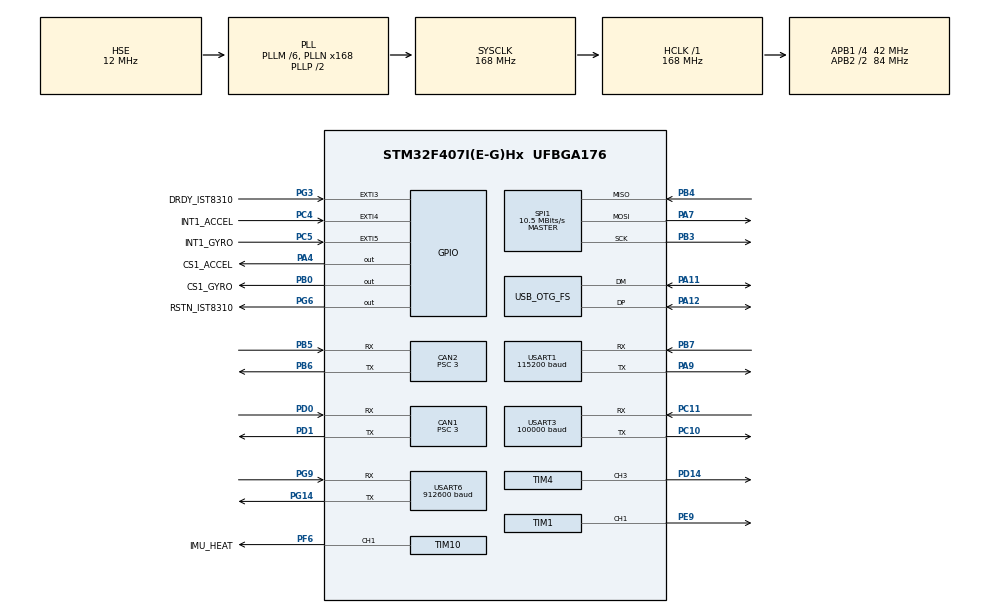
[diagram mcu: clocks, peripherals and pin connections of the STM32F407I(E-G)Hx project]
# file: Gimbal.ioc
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CAN1.ABOM=ENABLE
CAN1.BS1=CAN_BS1_10TQ
CAN1.BS2=CAN_BS2_3TQ
CAN1.CalculateBaudRate=1000000
CAN1.CalculateTimeBit=1000
CAN1.CalculateTimeQuantum=71.42857142857143
CAN1.NART=ENABLE
CAN1.Prescaler=3
CAN2.ABOM=ENABLE
CAN2.BS1=CAN_BS1_10TQ
CAN2.BS2=CAN_BS2_3TQ
CAN2.CalculateBaudRate=1000000
CAN2.CalculateTimeBit=1000
CAN2.CalculateTimeQuantum=71.42857142857143
CAN2.NART=ENABLE
CAN2.Prescaler=3
Dma.Request0=USART3_RX
Dma.Request1=USART6_RX
Dma.Request2=SPI1_RX
Dma.Request3=SPI1_TX
Dma.Request4=USART6_TX
Dma.Request5=USART1_TX
Dma.SPI1_RX.2.Direction=DMA_PERIPH_TO_MEMORY
Dma.SPI1_RX.2.FIFOMode=DMA_FIFOMODE_DISABLE
Dma.SPI1_RX.2.Instance=DMA2_Stream2
Dma.SPI1_RX.2.MemDataAlignment=DMA_MDATAALIGN_BYTE
Dma.SPI1_RX.2.MemInc=DMA_MINC_ENABLE
Dma.SPI1_RX.2.Mode=DMA_NORMAL
Dma.SPI1_RX.2.PeriphDataAlignment=DMA_PDATAALIGN_BYTE
Dma.SPI1_RX.2.PeriphInc=DMA_PINC_DISABLE
Dma.SPI1_RX.2.Priority=DMA_PRIORITY_VERY_HIGH
Dma.SPI1_TX.3.Direction=DMA_MEMORY_TO_PERIPH
Dma.SPI1_TX.3.FIFOMode=DMA_FIFOMODE_DISABLE
Dma.SPI1_TX.3.Instance=DMA2_Stream3
Dma.SPI1_TX.3.MemDataAlignment=DMA_MDATAALIGN_BYTE
Dma.SPI1_TX.3.MemInc=DMA_MINC_ENABLE
Dma.SPI1_TX.3.Mode=DMA_NORMAL
Dma.SPI1_TX.3.PeriphDataAlignment=DMA_PDATAALIGN_BYTE
Dma.SPI1_TX.3.PeriphInc=DMA_PINC_DISABLE
Dma.SPI1_TX.3.Priority=DMA_PRIORITY_HIGH
Dma.USART1_TX.5.Direction=DMA_MEMORY_TO_PERIPH
Dma.USART1_TX.5.FIFOMode=DMA_FIFOMODE_DISABLE
Dma.USART1_TX.5.Instance=DMA2_Stream7
Dma.USART1_TX.5.MemDataAlignment=DMA_MDATAALIGN_BYTE
Dma.USART1_TX.5.MemInc=DMA_MINC_ENABLE
Dma.USART1_TX.5.Mode=DMA_NORMAL
Dma.USART1_TX.5.PeriphDataAlignment=DMA_PDATAALIGN_BYTE
Dma.USART1_TX.5.PeriphInc=DMA_PINC_DISABLE
Dma.USART1_TX.5.Priority=DMA_PRIORITY_MEDIUM
Dma.USART3_RX.0.Direction=DMA_PERIPH_TO_MEMORY
Dma.USART3_RX.0.FIFOMode=DMA_FIFOMODE_DISABLE
Dma.USART3_RX.0.Instance=DMA1_Stream1
Dma.USART3_RX.0.MemDataAlignment=DMA_MDATAALIGN_BYTE
Dma.USART3_RX.0.MemInc=DMA_MINC_ENABLE
Dma.USART3_RX.0.Mode=DMA_NORMAL
Dma.USART3_RX.0.PeriphDataAlignment=DMA_PDATAALIGN_BYTE
Dma.USART3_RX.0.PeriphInc=DMA_PINC_DISABLE
Dma.USART3_RX.0.Priority=DMA_PRIORITY_HIGH
Dma.USART6_RX.1.Direction=DMA_PERIPH_TO_MEMORY
Dma.USART6_RX.1.FIFOMode=DMA_FIFOMODE_DISABLE
Dma.USART6_RX.1.Instance=DMA2_Stream1
Dma.USART6_RX.1.MemDataAlignment=DMA_MDATAALIGN_BYTE
Dma.USART6_RX.1.MemInc=DMA_MINC_ENABLE
Dma.USART6_RX.1.Mode=DMA_NORMAL
Dma.USART6_RX.1.PeriphDataAlignment=DMA_PDATAALIGN_BYTE
Dma.USART6_RX.1.PeriphInc=DMA_PINC_DISABLE
Dma.USART6_RX.1.Priority=DMA_PRIORITY_HIGH
Dma.USART6_TX.4.Direction=DMA_MEMORY_TO_PERIPH
Dma.USART6_TX.4.FIFOMode=DMA_FIFOMODE_DISABLE
Dma.USART6_TX.4.Instance=DMA2_Stream6
Dma.USART6_TX.4.MemDataAlignment=DMA_MDATAALIGN_BYTE
Dma.USART6_TX.4.MemInc=DMA_MINC_ENABLE
Dma.USART6_TX.4.Mode=DMA_NORMAL
Dma.USART6_TX.4.PeriphDataAlignment=DMA_PDATAALIGN_BYTE
Dma.USART6_TX.4.PeriphInc=DMA_PINC_DISABLE
Dma.USART6_TX.4.Priority=DMA_PRIORITY_MEDIUM
Mcu.Family=STM32F4
Mcu.Name=STM32F407I(E-G)Hx
Mcu.Package=UFBGA176
NVIC.CAN1_RX0_IRQn=true\:0\:0\:true\:false\:true\:true\:true\:true
NVIC.CAN1_RX1_IRQn=true\:0\:0\:false\:false\:true\:true\:true\:true
NVIC.CAN1_TX_IRQn=true\:0\:0\:false\:false\:true\:true\:true\:true
NVIC.CAN2_RX0_IRQn=true\:0\:0\:false\:false\:true\:true\:true\:true
NVIC.CAN2_RX1_IRQn=true\:0\:0\:false\:false\:true\:true\:true\:true
NVIC.CAN2_TX_IRQn=true\:0\:0\:false\:false\:true\:true\:true\:true
NVIC.DMA1_Stream1_IRQn=true\:0\:0\:false\:false\:true\:false\:true\:true
NVIC.DMA2_Stream1_IRQn=true\:0\:0\:false\:false\:true\:false\:true\:true
NVIC.DMA2_Stream2_IRQn=true\:0\:0\:false\:false\:true\:false\:true\:true
NVIC.DMA2_Stream3_IRQn=true\:0\:0\:false\:false\:true\:false\:true\:true
NVIC.DMA2_Stream6_IRQn=true\:0\:0\:false\:false\:true\:false\:true\:true
NVIC.DMA2_Stream7_IRQn=true\:0\:0\:false\:false\:true\:false\:true\:true
NVIC.EXTI3_IRQn=true\:0\:0\:false\:false\:true\:true\:true\:true
NVIC.EXTI4_IRQn=true\:0\:0\:false\:false\:true\:true\:true\:true
NVIC.EXTI9_5_IRQn=true\:0\:0\:false\:false\:true\:true\:true\:true
NVIC.OTG_FS_IRQn=true\:0\:0\:false\:false\:true\:true\:true\:true
NVIC.PriorityGroup=NVIC_PRIORITYGROUP_4
NVIC.TIM1_BRK_TIM9_IRQn=true\:0\:0\:false\:false\:true\:true\:true\:true
NVIC.TIM1_TRG_COM_TIM11_IRQn=true\:0\:0\:false\:false\:true\:true\:true\:true
NVIC.TIM6_DAC_IRQn=true\:0\:0\:false\:false\:true\:true\:true\:true
NVIC.TIM8_BRK_TIM12_IRQn=true\:1\:0\:true\:false\:true\:true\:true\:true
NVIC.TIM8_TRG_COM_TIM14_IRQn=true\:0\:0\:true\:false\:true\:true\:true\:true
NVIC.TIM8_UP_TIM13_IRQn=true\:0\:0\:true\:false\:true\:true\:true\:true
NVIC.USART1_IRQn=true\:0\:0\:true\:false\:true\:true\:true\:true
NVIC.USART3_IRQn=true\:0\:0\:false\:false\:true\:true\:true\:true
NVIC.USART6_IRQn=true\:0\:0\:false\:false\:true\:true\:true\:true
PA11.Mode=Device_Only
PA11.Signal=USB_OTG_FS_DM
PA12.Mode=Device_Only
PA12.Signal=USB_OTG_FS_DP
PA13.Mode=Serial_Wire
PA13.Signal=SYS_JTMS-SWDIO
PA14.Mode=Serial_Wire
PA14.Signal=SYS_JTCK-SWCLK
PA4.GPIO_Label=CS1_ACCEL
PA4.GPIO_PuPd=GPIO_PULLUP
PA4.GPIO_Speed=GPIO_SPEED_FREQ_HIGH
PA4.Signal=GPIO_Output
PA7.Mode=Full_Duplex_Master
PA7.Signal=SPI1_MOSI
PA9.Mode=Asynchronous
PA9.Signal=USART1_TX
PB0.GPIO_Label=CS1_GYRO
PB0.GPIO_PuPd=GPIO_PULLUP
PB0.GPIO_Speed=GPIO_SPEED_FREQ_HIGH
PB0.PinState=GPIO_PIN_SET
PB0.Signal=GPIO_Output
PB3.Mode=Full_Duplex_Master
PB3.Signal=SPI1_SCK
PB4.Mode=Full_Duplex_Master
PB4.Signal=SPI1_MISO
PB5.Mode=CAN_Activate
PB5.Signal=CAN2_RX
PB6.Mode=CAN_Activate
PB6.Signal=CAN2_TX
PB7.Mode=Asynchronous
PB7.Signal=USART1_RX
PC10.Mode=Asynchronous
PC10.Signal=USART3_TX
PC11.Mode=Asynchronous
PC11.Signal=USART3_RX
PC4.GPIO_Label=INT1_ACCEL
PC4.GPIO_ModeDefaultEXTI=GPIO_MODE_IT_FALLING
PC4.GPIO_PuPd=GPIO_PULLUP
PC4.Signal=GPXTI4
PC5.GPIO_Label=INT1_GYRO
PC5.GPIO_ModeDefaultEXTI=GPIO_MODE_IT_FALLING
PC5.GPIO_PuPd=GPIO_PULLUP
PC5.Signal=GPXTI5
PD0.Mode=CAN_Activate
PD0.Signal=CAN1_RX
PD1.Mode=CAN_Activate
PD1.Signal=CAN1_TX
PD14.Signal=S_TIM4_CH3
PE9.Signal=S_TIM1_CH1
PF6.GPIO_Label=IMU_HEAT
PF6.GPIO_PuPd=GPIO_PULLUP
PF6.GPIO_Speed=GPIO_SPEED_FREQ_HIGH
PF6.Signal=S_TIM10_CH1
PG14.Mode=Asynchronous
PG14.Signal=USART6_TX
PG3.GPIO_Label=DRDY_IST8310
PG3.GPIO_ModeDefaultEXTI=GPIO_MODE_IT_FALLING
PG3.GPIO_PuPd=GPIO_PULLUP
PG3.Signal=GPXTI3
PG6.GPIO_Label=RSTN_IST8310
PG6.GPIO_PuPd=GPIO_PULLUP
PG6.GPIO_Speed=GPIO_SPEED_FREQ_MEDIUM
PG6.PinState=GPIO_PIN_SET
PG6.Signal=GPIO_Output
PG9.Mode=Asynchronous
PG9.Signal=USART6_RX
PH0-OSC_IN.Mode=HSE-External-Oscillator
PH0-OSC_IN.Signal=RCC_OSC_IN
PH1-OSC_OUT.Mode=HSE-External-Oscillator
PH1-OSC_OUT.Signal=RCC_OSC_OUT
ProjectManager.HeapSize=0x1000
ProjectManager.StackSize=0x400
ProjectManager.TargetToolchain=MDK-ARM V5.32
RCC.48MHZClocksFreq_Value=48000000
RCC.AHBFreq_Value=168000000
RCC.APB1CLKDivider=RCC_HCLK_DIV4
RCC.APB1Freq_Value=42000000
RCC.APB1TimFreq_Value=84000000
RCC.APB2CLKDivider=RCC_HCLK_DIV2
RCC.APB2Freq_Value=84000000
RCC.APB2TimFreq_Value=168000000
RCC.CortexFreq_Value=168000000
RCC.HCLKFreq_Value=168000000
RCC.HSE_VALUE=12000000
RCC.HSI_VALUE=16000000
RCC.LSE_VALUE=32.77
RCC.PLLM=6
RCC.PLLN=168
RCC.PLLQ=7
RCC.SYSCLKFreq_VALUE=168000000
RCC.SYSCLKSource=RCC_SYSCLKSOURCE_PLLCLK
RCC.VCOOutputFreq_Value=336000000
SH.S_TIM10_CH1.0=TIM10_CH1,PWM Generation1 CH1
SH.S_TIM1_CH1.0=TIM1_CH1,PWM Generation1 CH1
SH.S_TIM4_CH3.0=TIM4_CH3,PWM Generation3 CH3
SPI1.BaudRatePrescaler=SPI_BAUDRATEPRESCALER_8
SPI1.CLKPhase=SPI_PHASE_2EDGE
SPI1.CLKPolarity=SPI_POLARITY_HIGH
SPI1.CalculateBaudRate=10.5 MBits/s
SPI1.Direction=SPI_DIRECTION_2LINES
SPI1.Mode=SPI_MODE_MASTER
SPI1.VirtualType=VM_MASTER
TIM1.Channel-PWM\ Generation1\ CH1=TIM_CHANNEL_1
TIM1.Period=20000-1
TIM1.Prescaler=168-1
TIM1.Pulse-PWM\ Generation1\ CH1=1000
TIM10.Channel=TIM_CHANNEL_1
TIM11.Period=670-1
TIM11.Prescaler=168-1
TIM12.Period=2000-1
TIM12.Prescaler=84-1
TIM13.AutoReloadPreload=TIM_AUTORELOAD_PRELOAD_ENABLE
TIM13.Period=2000-1
TIM13.Prescaler=84-1
TIM14.AutoReloadPreload=TIM_AUTORELOAD_PRELOAD_ENABLE
TIM14.Period=2000-1
TIM14.Prescaler=84-1
TIM4.Channel-PWM\ Generation3\ CH3=TIM_CHANNEL_3
TIM4.Period=20-1
TIM4.Prescaler=800
TIM4.Pulse-PWM\ Generation3\ CH3=10
TIM6.Period=1000
TIM6.Prescaler=84-1
TIM8.Period=5000-1
TIM8.Prescaler=84-1
TIM9.Period=10000-1
TIM9.Prescaler=168-1
USART1.BaudRate=115200
USART1.VirtualMode=VM_ASYNC
USART3.BaudRate=100000
USART3.Mode=MODE_TX_RX
USART3.Parity=PARITY_EVEN
USART3.VirtualMode=VM_ASYNC
USART3.WordLength=WORDLENGTH_9B
USART6.BaudRate=912600
USART6.VirtualMode=VM_ASYNC
USB_DEVICE.CLASS_NAME_FS=CDC
USB_DEVICE.VirtualMode-CDC_FS=Cdc
USB_DEVICE.VirtualModeFS=Cdc_FS
USB_OTG_FS.VirtualMode=Device_Only
VP_TIM10_VS_ClockSourceINT.Mode=Enable_Timer
VP_TIM11_VS_ClockSourceINT.Mode=Enable_Timer
VP_TIM12_VS_ClockSourceINT.Mode=Internal
VP_TIM13_VS_ClockSourceINT.Mode=Enable_Timer
VP_TIM14_VS_ClockSourceINT.Mode=Enable_Timer
VP_TIM1_VS_ClockSourceINT.Mode=Internal
VP_TIM4_VS_ClockSourceINT.Mode=Internal
VP_TIM6_VS_ClockSourceINT.Mode=Enable_Timer
VP_TIM8_VS_ClockSourceINT.Mode=Internal
VP_TIM9_VS_ClockSourceINT.Mode=Internal
VP_USB_DEVICE_VS_USB_DEVICE_CDC_FS.Mode=CDC_FS
board=custom

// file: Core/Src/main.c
/* USER CODE BEGIN Header */
/**
 ******************************************************************************
 * @file           : main.c
 * @brief          : Main program body
 ******************************************************************************
 * @attention
 *
 * Copyright (c) 2023 STMicroelectronics.
 * All rights reserved.
 *
 * This software is licensed under terms that can be found in the LICENSE file
 * in the root directory of this software component.
 * If no LICENSE file comes with this software, it is provided AS-IS.
 *
 ******************************************************************************
 */
/* USER CODE END Header */
#include "main.h"
#include "can.h"
#include "dma.h"
#include "spi.h"
#include "tim.h"
#include "usart.h"
#include "usb_device.h"
#include "gpio.h"

/* USER CODE BEGIN Includes */
// #include "IMU.h"
#include "BMI088.h"
#include "DJI_Motor.h"
#include "MCUConnect.h"
#include "MCUConnectStructs.h"
#include "RC_task.h"
#include "RobotModManage.h"
#include "VisionConnect.h"
#include "addOns.h"
#include "bsp_wbus.h"
#include "gimbal.h"
#include "math.h"
#include "pid.h"
#include "pidData.h"
#include "referee.h"
#include "remote_control.h"
#include "shooter.h"
#include "stm32f4xx_it.h"
/* USER CODE END Includes */

/* USER CODE BEGIN PTD */
DJI_MotorGroup group1;
DJI_Motor motorYaw;

DJI_Motor motorPitch;

DJI_MotorGroup group2;
DJI_Motor motorfriR;
DJI_Motor motorfriL;
DJI_Motor motor2006;

shooter shooter1;
VisionConnect vision1;
ChassisControl ChassisControlData;
GimbalControl GimbalControlData;
// RC_ctrl_t rc_ctrl;

MCUConnection connect;
gimbal gimbal1;

BMI088_IMU BMI088_gimbal;
Referee_data RefereeData;
uint8_t tuneTime = 0;

/* USER CODE END PTD */

void SystemClock_Config(void);

int main(void)
{

  /* USER CODE BEGIN 1 */
extern DMA_HandleTypeDef hdma2;
  /* USER CODE END 1 */

  /* MCU Configuration--------------------------------------------------------*/

  /* Reset of all peripherals, Initializes the Flash interface and the Systick. */
  HAL_Init();

  /* Configure the system clock */
  SystemClock_Config();

  /* Initialize all configured peripherals */
  MX_GPIO_Init();
  MX_DMA_Init();
  MX_CAN1_Init();
  MX_CAN2_Init();
  MX_TIM13_Init();
  MX_TIM14_Init();
  MX_USART3_UART_Init();
  MX_USART1_UART_Init();
  MX_USART6_UART_Init();
  MX_TIM12_Init();
  MX_USB_DEVICE_Init();
  MX_TIM11_Init();
  MX_SPI1_Init();
  MX_TIM10_Init();
  MX_TIM4_Init();
  MX_TIM9_Init();
  MX_TIM1_Init();
  MX_TIM6_Init();
  MX_TIM8_Init();
  /* USER CODE BEGIN 2 */

  /***********************************************************************************************/
  /**************************************电机初始�???************************************************/
  /***********************************************************************************************/
  // 云台电机
  DJI_MotorGroupInit(&group1, &hcan1, CAN_RX_FIFO0);
#if NEW_ROBOT == 0
  DJI_MotorInit(&motorYaw, 0x207, 0, pidBoth, 0);
#else
  DJI_MotorInit(&motorYaw, 0x207, 0, pidBoth, 0);
#endif
  //  处理�???螺仪的数据，以及过零
  DJI_MotorPreProcessHandlerSet(&motorYaw, &IMUecdZeroCrossing);

  DJI_MotorPidSet(&motorYaw, &(motorYaw.motorPid0), PID_POSITION, YAW_Angle_PID,
				  &(motorYaw.preProcessResult), &(motorYaw.target));
  DJI_MotorPidSet(&motorYaw, &(motorYaw.motorPid1), PID_POSITION, YAW_Speed_PID,
                  (fp32 *)&(BMI088_gimbal.yawSpeed), &(motorYaw.pidOutput0));
  DJI_MotorPostProcessHandlerSet(&motorYaw, &negative);
  DJI_MotorCalculateResultSet(&motorYaw, &(motorYaw.postProcessResult));

  DJI_MotorListAdd(&group1, &motorYaw);

#if NEW_ROBOT == 0
  DJI_MotorInit(&motorPitch, 0x206, 0, pidBoth, 5511);  // 这是起火步兵pitchID
#else
  DJI_MotorInit(&motorPitch, 0x206, 0, pidBoth, 6236);
#endif

#if IMU_PITCH == 0
  DJI_MotorPreProcessHandlerSet(&motorPitch, &ecdZeroCrossing);
  DJI_MotorPidSet(&motorPitch, &(motorPitch.motorPid0), PID_POSITION, PITCH_Angle_PID,
                  &(motorPitch.preProcessResult), &(motorPitch.target));
  DJI_MotorPidSet(&motorPitch, &(motorPitch.motorPid1), PID_POSITION, PITCH_Speed_PID,
                  &(motorPitch.realSpeedF), &(motorPitch.pidOutput0));
  DJI_MotorPostProcessHandlerSet(&motorPitch, &pitch_gravity_compensation);
  DJI_MotorCalculateResultSet(&motorPitch, &(motorPitch.postProcessResult));
  DJI_MotorListAdd(&group1, &motorPitch);

#else

  DJI_MotorPreProcessHandlerSet(&motorPitch, &ecdZeroCrossing);
  DJI_MotorPidSet(&motorPitch, &(motorPitch.motorPid0), PID_POSITION, PITCH_Angle_IMU_PID,
                  &(BMI088_gimbal.pitchAngle), &(motorPitch.target));
  DJI_MotorPidSet(&motorPitch, &(motorPitch.motorPid1), PID_POSITION, PITCH_Speed_IMU_PID,
                  &(BMI088_gimbal.pitchSpeed), &(motorPitch.pidOutput0));
  DJI_MotorPostProcessHandlerSet(&motorPitch, &pitch_gravity_compensation);
  DJI_MotorCalculateResultSet(&motorPitch, &(motorPitch.postProcessResult));
  DJI_MotorListAdd(&group1, &motorPitch);

#endif

  // 发射机构
  DJI_MotorGroupInit(&group2, &hcan2, CAN_RX_FIFO0);
#if NEW_ROBOT == 0
  DJI_MotorInit(&motorfriR, 0x201, 0, pid0, NULL);
#else
  DJI_MotorInit(&motorfriR, 0x202, 0, pid0, NULL);
#endif
  DJI_MotorPidSet(&motorfriR, &(motorfriR.motorPid0), PID_POSITION, FRI_Speed_PID,
                  &(motorfriR.realSpeedF), &(motorfriR.target));
  DJI_MotorCalculateResultSet(&motorfriR, &(motorfriR.pidOutput0));
  DJI_MotorListAdd(&group2, &motorfriR);
#if NEW_ROBOT == 0
  DJI_MotorInit(&motorfriL, 0x202, 1, pid0, NULL);
#else
  DJI_MotorInit(&motorfriL, 0x201, 1, pid0, NULL);
#endif
  DJI_MotorPidSet(&motorfriL, &(motorfriL.motorPid0), PID_POSITION, FRI_Speed_PID,
                  &(motorfriL.realSpeedF), &(motorfriL.target));
  DJI_MotorCalculateResultSet(&motorfriL, &(motorfriL.pidOutput0));
  DJI_MotorListAdd(&group2, &motorfriL);

#if SUPPLIER_ECD == 0
  DJI_MotorInit(&motor2006, 0x203, 0, pid0, NULL);
  DJI_MotorPidSet(&motor2006, &(motor2006.motorPid0), PID_POSITION, M2006_Speed_PID,
                  &(motor2006.realSpeedF), &(motor2006.target));
  DJI_MotorCalculateResultSet(&motor2006, &(motor2006.pidOutput0));
  DJI_MotorListAdd(&group1, &motor2006); // 拨弹在底盘，用can1
#else
  #if NEW_ROBOT == 0
  DJI_MotorInit(&motor2006, 0x203, 0, pidBoth, NULL);
  #else
  DJI_MotorInit(&motor2006, 0x203, 0, pidBoth, NULL);
  #endif
  DJI_MotorPidSet(&motor2006, &(motor2006.motorPid0), PID_POSITION, M2006_Angle_PID, &(shooter1.supplier_total_ecd_f), &(motor2006.target));
  DJI_MotorPidSet(&motor2006, &(motor2006.motorPid1), PID_POSITION, M2006_Speed_PID,
                  &(motor2006.realSpeedF), &(motor2006.pidOutput0));
  DJI_MotorCalculateResultSet(&motor2006, &(motor2006.pidOutput1));
  DJI_MotorListAdd(&group1, &motor2006);
#endif

  /***********************************************************************************************/
  /**************************************云台初始�???************************************************/
  /***********************************************************************************************/
  gimbalINIT(&gimbal1, &group1, &motorYaw, &motorPitch);
#if SUPPLIER_ECD == 1
  shooterINIT(&shooter1, &group2, &motorfriL, &motorfriR, &motor2006, shooterSpeed, SHOOTER_FREQ_DFLT,
              10, TOTAL_ECD_PER_SHOOT);
#elif SUPPLIER_ECD == 0
  shooterINIT(&shooter1, &group2, &motorfriL, &motorfriR, &motor2006, shooterSpeed,
              SHOOTER_FREQ_DFLT, 10, TOTAL_ECD_PER_SHOOT);
#endif

  connectionINIT(&connect, &hcan1, 0x400, CAN_RX_FIFO1);
  VisionConnectINIT(&vision1, BLUE);
  /***********************************************************************************************/
  /*************************************任务启用管理***********************************************/
  /***********************************************************************************************/
  BMI088_INIT(&BMI088_gimbal);
  tuneINIT();
  tune(2);  // 初始化完成则响两�???

  W_BUS_Init(W_BUSRxBuffer[0], W_BUSRxBuffer[1], RC_FRAME_NUM);
  HAL_TIM_PWM_Start(&htim1, TIM_CHANNEL_1);
  HAL_TIM_Base_Start_IT(&htim9);   // 视觉发�??
  refereeINIT(&htim9);             // 裁判系统数据接收
  HAL_TIM_Base_Start_IT(&htim6);   // bmi088
  HAL_TIM_Base_Start_IT(&htim8);   // vofa
  HAL_TIM_Base_Start_IT(&htim11);  //
  HAL_TIM_Base_Start_IT(&htim12);  // 双机通信
  HAL_TIM_Base_Start_IT(&htim13);  // 云台pid
  HAL_TIM_Base_Start_IT(&htim14);  // 摩擦轮pid

  /* USER CODE END 2 */

  /* Infinite loop */
  /* USER CODE BEGIN WHILE */
  while (1) {
    HAL_Delay(1);
    gimbalRun(&gimbal1, GimbalControlData.yawAngle, GimbalControlData.pitchAngle);
    GimbalChangeMode(&gimbal1, GimbalControlData.mode);
    shooterRun(&shooter1);
    tuneRun();
  }

    /* USER CODE END WHILE */

}

void SystemClock_Config(void)
{
  RCC_OscInitTypeDef RCC_OscInitStruct = {0};
  RCC_ClkInitTypeDef RCC_ClkInitStruct = {0};

  /** Configure the main internal regulator output voltage
  */
  __HAL_RCC_PWR_CLK_ENABLE();
  __HAL_PWR_VOLTAGESCALING_CONFIG(PWR_REGULATOR_VOLTAGE_SCALE1);

  /** Initializes the RCC Oscillators according to the specified parameters
  * in the RCC_OscInitTypeDef structure.
  */
  RCC_OscInitStruct.OscillatorType = RCC_OSCILLATORTYPE_HSE;
  RCC_OscInitStruct.HSEState = RCC_HSE_ON;
  RCC_OscInitStruct.PLL.PLLState = RCC_PLL_ON;
  RCC_OscInitStruct.PLL.PLLSource = RCC_PLLSOURCE_HSE;
  RCC_OscInitStruct.PLL.PLLM = 6;
  RCC_OscInitStruct.PLL.PLLN = 168;
  RCC_OscInitStruct.PLL.PLLP = RCC_PLLP_DIV2;
  RCC_OscInitStruct.PLL.PLLQ = 7;
  if (HAL_RCC_OscConfig(&RCC_OscInitStruct) != HAL_OK)
  {
    Error_Handler();
  }

  /** Initializes the CPU, AHB and APB buses clocks
  */
  RCC_ClkInitStruct.ClockType = RCC_CLOCKTYPE_HCLK|RCC_CLOCKTYPE_SYSCLK
                              |RCC_CLOCKTYPE_PCLK1|RCC_CLOCKTYPE_PCLK2;
  RCC_ClkInitStruct.SYSCLKSource = RCC_SYSCLKSOURCE_PLLCLK;
  RCC_ClkInitStruct.AHBCLKDivider = RCC_SYSCLK_DIV1;
  RCC_ClkInitStruct.APB1CLKDivider = RCC_HCLK_DIV4;
  RCC_ClkInitStruct.APB2CLKDivider = RCC_HCLK_DIV2;

  if (HAL_RCC_ClockConfig(&RCC_ClkInitStruct, FLASH_LATENCY_5) != HAL_OK)
  {
    Error_Handler();
  }
}

void Error_Handler(void)
{
  /* USER CODE BEGIN Error_Handler_Debug */
  /* User can add his own implementation to report the HAL error return state
   */
  __disable_irq();
  while (1) {
  }
  /* USER CODE END Error_Handler_Debug */
}

#ifdef  USE_FULL_ASSERT
/**
  * @brief  Reports the name of the source file and the source line number
  *         where the assert_param error has occurred.
  * @param  file: pointer to the source file name
  * @param  line: assert_param error line source number
  * @retval None
  */
void assert_failed(uint8_t *file, uint32_t line)
{
  /* USER CODE BEGIN 6 */
  /* User can add his own implementation to report the file name and line
     number,
     ex: printf("Wrong parameters value: file %s on line %d\r\n", file, line)
   */
  /* USER CODE END 6 */
}
#endif /* USE_FULL_ASSERT */
